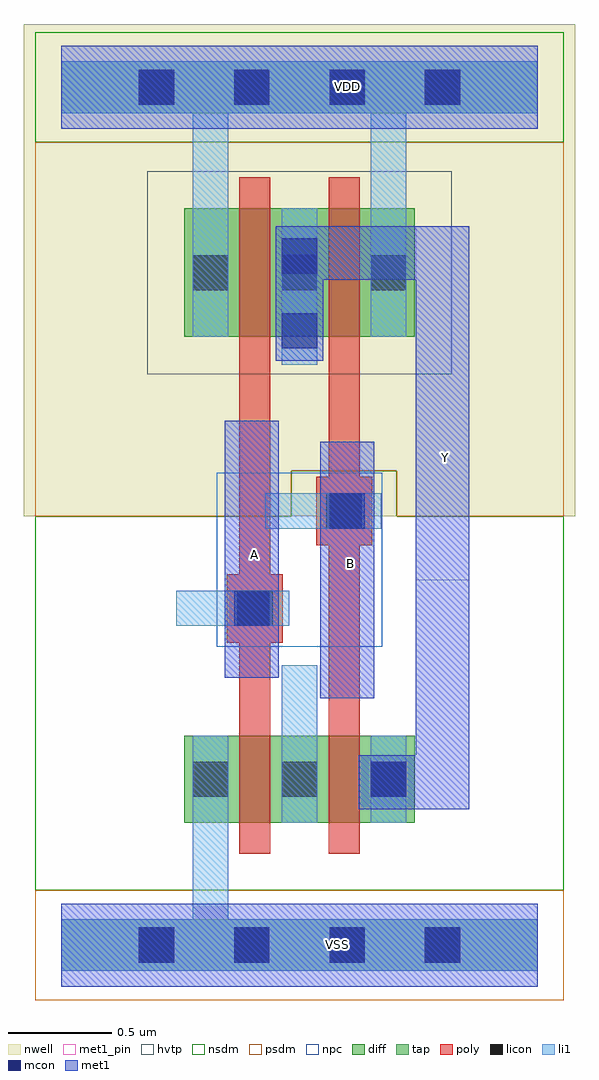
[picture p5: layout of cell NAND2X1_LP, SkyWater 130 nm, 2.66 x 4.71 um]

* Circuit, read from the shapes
.subckt NAND2X1_LP A B VDD VSS Y
XM1 n1 A VSS VSS sky130_fd_pr__nfet_01v8 w=0.42 l=0.15
XM2 Y B n1 VSS sky130_fd_pr__nfet_01v8 w=0.42 l=0.15
XM3 Y A VDD VDD sky130_fd_pr__pfet_01v8_hvt w=0.62 l=0.15
XM4 VDD B Y VDD sky130_fd_pr__pfet_01v8_hvt w=0.62 l=0.15
.ends

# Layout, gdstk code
from math import pi, radians
import gdstk
lib = gdstk.Library(unit=1e-6, precision=1e-09)
def R(c, l, rs):  # rectangles x0, y0, x1, y1
    for r in rs: c.add(gdstk.rectangle(r[:2], r[2:], *l))
def A(c, l, x, y, w, h, nx, ny, dx, dy):  # array of equal rectangles
    R(c, l, [(x+i*dx, y+j*dy, x+i*dx+w, y+j*dy+h) for i in range(nx) for j in range(ny)])
def P(c, l, *ps):  # polygons
    for p in ps: c.add(gdstk.Polygon(p, *l))
nwell = (64, 20)
diff = (65, 20)
tap = (65, 44)
poly = (66, 20)
licon = (66, 44)
li1 = (67, 20)
mcon = (67, 44)
met1_pin = (68, 16)
met1 = (68, 20)
hvtp = (78, 44)
nsdm = (93, 44)
psdm = (94, 20)
npc = (95, 20)

l1m1_c_cdns_795853916191 = lib.new_cell('L1M1_C_CDNS_7958539161913')
R(l1m1_c_cdns_795853916191, li1, [(-0.085,-0.165,0.085,0.165)])
R(l1m1_c_cdns_795853916191, mcon, [(-0.085,-0.085,0.085,0.085)])
R(l1m1_c_cdns_795853916191, met1, [(-0.145,-0.145,0.115,0.115)])

l1m1_c_cdns_795853916199 = lib.new_cell('L1M1_C_CDNS_795853916199')
R(l1m1_c_cdns_795853916199, li1, [(-0.085,-0.345,0.085,0.345)])
R(l1m1_c_cdns_795853916199, mcon, [(-0.085,-0.265,0.085,-0.095), (-0.085,0.095,0.085,0.265)])
R(l1m1_c_cdns_795853916199, met1, [(-0.115,-0.325,0.115,0.325)])

pyl1con_c_cdns_795853916 = lib.new_cell('PYL1CON_C_CDNS_795853916195')
R(pyl1con_c_cdns_795853916, poly, [(-0.135,-0.165,0.135,0.165)])
R(pyl1con_c_cdns_795853916, licon, [(-0.085,-0.085,0.085,0.085)])
R(pyl1con_c_cdns_795853916, npc, [(-0.185,-0.185,0.185,0.185)])

l1m1_c_cdns_795853916194 = lib.new_cell('L1M1_C_CDNS_795853916194')
R(l1m1_c_cdns_795853916194, li1, [(-0.165,-0.085,0.165,0.085)])
R(l1m1_c_cdns_795853916194, mcon, [(-0.085,-0.085,0.085,0.085)])
R(l1m1_c_cdns_795853916194, met1, [(-0.115,-0.145,0.115,0.145)])

nand2x1_lp = lib.new_cell('NAND2X1_LP')
R(nand2x1_lp, nwell, [(-0.18,2.07,2.48,4.445)])
R(nand2x1_lp, diff, [(0.595,0.59,1.705,1.01), (0.595,2.935,1.705,3.555)])
R(nand2x1_lp, poly, [(0.86,0.44,1.01,3.705), (1.29,0.44,1.44,3.705)])
A(nand2x1_lp, licon, 0.375, -0.085, 0.17, 0.17, 4, 2, 0.46, 4.14)
A(nand2x1_lp, licon, 0.635, 0.715, 0.17, 0.17, 3, 2, 0.43, 2.445)
R(nand2x1_lp, li1, [(1.495,0.59,1.665,1.01), (1.065,2.935,1.235,3.555)])
P(nand2x1_lp, li1, [(0.635,2.935),(0.635,4.015),(0,4.015),(0,4.265),(2.3,4.265),(2.3,4.015),(1.665,4.015),(1.665,2.935),(1.495,2.935),(1.495,4.015),(0.805,4.015),(0.805,2.935)],
  [(0,-0.125),(0,0.125),(0.635,0.125),(0.635,1.01),(0.805,1.01),(0.805,0.125),(2.3,0.125),(2.3,-0.125)])
A(nand2x1_lp, mcon, 0.375, -0.085, 0.17, 0.17, 4, 2, 0.46, 4.14)
R(nand2x1_lp, met1_pin, [(1.25,1.19,1.51,2.43), (0.79,1.29,1.05,2.53), (1.71,1.76,1.97,3.47)])
R(nand2x1_lp, hvtp, [(0.415,2.755,1.885,3.735)])
R(nand2x1_lp, nsdm, [(-0.125,3.875,2.425,4.405)])
P(nand2x1_lp, nsdm, [(-0.125,0.265),(-0.125,2.07),(1.11,2.07),(1.11,2.29),(1.62,2.29),(1.62,2.07),(2.425,2.07),(2.425,0.265)])
R(nand2x1_lp, psdm, [(-0.125,-0.265,2.425,0.265)])
P(nand2x1_lp, psdm, [(-0.125,2.07),(-0.125,3.875),(2.425,3.875),(2.425,2.07),(1.62,2.07),(1.62,2.29),(1.11,2.29),(1.11,2.07)])
R(nand2x1_lp, npc, [(0.75,1.44,1.55,2.28)])
nand2x1_lp.add(gdstk.FlexPath([(1.695,0.785),(1.84,0.785),(1.84,3.34),(1.265,3.34)], 0.26, ends="flush", simple_path=True, layer=68, datatype=20))  # met1
nand2x1_lp.add(gdstk.FlexPath([(0,0),(2.3,0)], 0.4, ends="flush", simple_path=True, layer=68, datatype=20))  # met1
nand2x1_lp.add(gdstk.FlexPath([(0,4.14),(2.3,4.14)], 0.4, ends="flush", simple_path=True, layer=68, datatype=20))  # met1
nand2x1_lp.add(gdstk.FlexPath([(0.92,1.29),(0.92,2.53)], 0.26, ends="flush", simple_path=True, layer=68, datatype=20))  # met1
nand2x1_lp.add(gdstk.FlexPath([(1.38,2.43),(1.38,1.19)], 0.26, ends="flush", simple_path=True, layer=68, datatype=20))  # met1
nand2x1_lp.add(gdstk.FlexPath([(1.15,1.35),(1.15,0.59)], 0.17, ends="flush", simple_path=True, layer=67, datatype=20))  # li1
nand2x1_lp.add(gdstk.FlexPath([(0.985,2.095),(1.53,2.095)], 0.17, ends="flush", simple_path=True, layer=67, datatype=20))  # li1
nand2x1_lp.add(gdstk.FlexPath([(0.555,1.625),(1.1,1.625)], 0.17, ends="flush", simple_path=True, layer=67, datatype=20))  # li1
nand2x1_lp.add(gdstk.FlexPath([(0,0),(2.3,0)], 0.25, ends="flush", simple_path=True, layer=65, datatype=44))  # tap
nand2x1_lp.add(gdstk.FlexPath([(0,4.14),(2.3,4.14)], 0.25, ends="flush", simple_path=True, layer=65, datatype=44))  # tap
nand2x1_lp.add(gdstk.FlexPath([(0,4.14),(2.3,4.14)], 0.4, ends="flush", simple_path=True, layer=68, datatype=16))  # met1_pin
nand2x1_lp.add(gdstk.FlexPath([(0,0),(2.3,0)], 0.4, ends="flush", simple_path=True, layer=68, datatype=16))  # met1_pin
nand2x1_lp.add(gdstk.Reference(l1m1_c_cdns_795853916191, (1.58,0.8)))
nand2x1_lp.add(gdstk.Reference(l1m1_c_cdns_795853916199, (1.15,3.145)))
nand2x1_lp.add(gdstk.Reference(pyl1con_c_cdns_795853916, (0.935,1.625), rotation=pi, x_reflection=True))
nand2x1_lp.add(gdstk.Reference(pyl1con_c_cdns_795853916, (1.365,2.095), rotation=pi, x_reflection=True))
nand2x1_lp.add(gdstk.Reference(l1m1_c_cdns_795853916194, (1.38,2.095)))
nand2x1_lp.add(gdstk.Reference(l1m1_c_cdns_795853916194, (0.92,1.625), x_reflection=True))
nand2x1_lp.add(gdstk.Label('VSS', (1.335,0.005), layer=68, texttype=5))
nand2x1_lp.add(gdstk.Label('VDD', (1.38,4.145), layer=68, texttype=5))
nand2x1_lp.add(gdstk.Label('B', (1.395,1.84), layer=68, texttype=5))
nand2x1_lp.add(gdstk.Label('A', (0.935,1.885), layer=68, texttype=5))
nand2x1_lp.add(gdstk.Label('Y', (1.855,2.355), layer=68, texttype=5))

lib.write_gds('NAND2X1_LP.gds')
